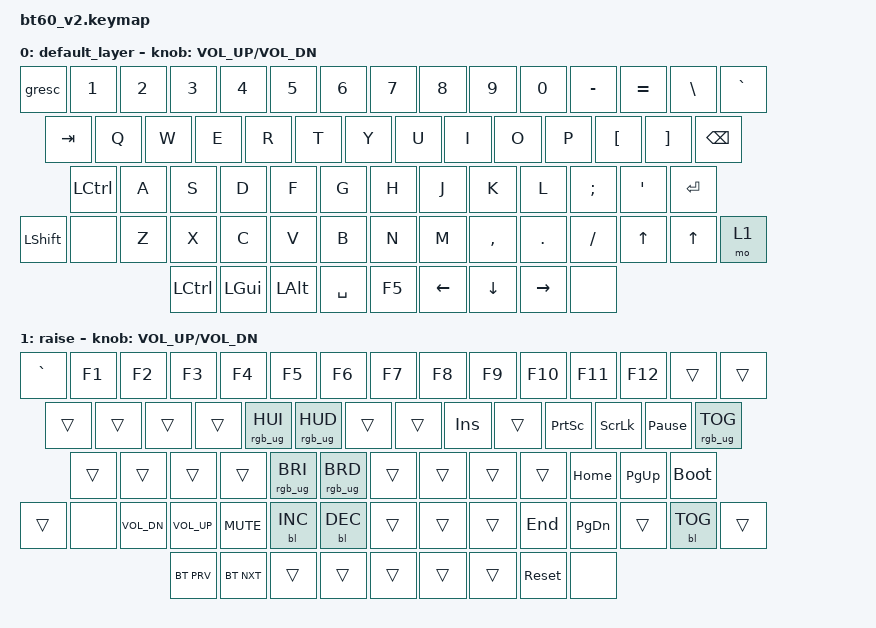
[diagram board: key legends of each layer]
#include <behaviors.dtsi>
#include <dt-bindings/zmk/keys.h>
#include <dt-bindings/zmk/bt.h>
#include <dt-bindings/zmk/rgb.h>
#include <dt-bindings/zmk/backlight.h>

/ {
  chosen {
    zmk,physical-layout = &layout_60_all1u;
  };

  behaviors {
    gresc: grave_escape {
      compatible = "zmk,behavior-mod-morph";
      label = "GRAVE_ESCAPE";
      #binding-cells = <0>;
      bindings = <&kp ESC>, <&kp GRAVE>;
      mods = <(MOD_LGUI|MOD_LSFT|MOD_RGUI|MOD_RSFT)>;
      keep-mods = <(MOD_LGUI|MOD_LSFT|MOD_RGUI|MOD_RSFT)>;
    };
  };

  keymap {
    compatible = "zmk,keymap";

    default_layer {
        // ------------------------------------------------------------------------------------------
        // | ESC |  1  |  2  |  3  |  4  |  5  |  6  |  7  |  8  |  9  |  0  |  -  |  =  |  \  |  `  |
        // | TAB   |  Q  |  W  |  E  |  R  |  T  |  Y  |  U  |  I  |  O  |  P  |  [  |  ]  |    \    |
        // | CTL   |  A  |  S  |  D  |  F  |  G  |  H  |  J  |  K  |  L  |  ;  |  '  |     ENTER    |
        // | SHFT  |NONE|  Z  |  X  |  C  |  V  |  B  |  N  |  M  |  ,  |  .  | /   | UP | UP |  1 |
        // |  CTL  |  WIN  |  ALT  |           SPACE              | RALT| F5 | LEFT | DOWN | RIGHT | NONE   |
        // ------------------------------------------------------------------------------------------
      bindings = <
        &gresc &kp N1 &kp N2 &kp N3 &kp N4 &kp N5 &kp N6 &kp N7 &kp  N8   &kp  N9 &kp  N0  &kp MINUS &kp EQUAL &kp BSLH &kp GRAVE
        &kp TAB  &kp Q  &kp W  &kp E  &kp R  &kp T  &kp Y  &kp U  &kp  I    &kp  O  &kp  P   &kp LBKT &kp RBKT  &kp BSPC
        &kp LCTRL  &kp A  &kp S  &kp D  &kp F  &kp G  &kp H  &kp J  &kp  K    &kp  L  &kp SEMI &kp SQT           &kp RET
        &kp LSHFT &none  &kp Z  &kp X  &kp C  &kp V  &kp B  &kp N  &kp M  &kp COMMA &kp DOT &kp FSLH    &kp UP  &kp UP &mo 1
        &kp LCTRL &kp LGUI &kp LALT            &kp SPACE                           &kp F5 &kp LEFT &kp DOWN &kp RIGHT &none
      >;
      sensor-bindings = <&inc_dec_kp C_VOL_UP C_VOL_DN>;
    };
    raise {
        // ------------------------------------------------------------------------------------------
        // |GRAVE| F1  | F2  | F3  | F4  | F5  | F6  | F7  | F8  | F9  | F10 | F11 | F12 |BSPC | DEL |
        // |      |     |     |     | HUI | HUD |     |     | INS |     |PSCRN| SLCK| P_B | RGB_TOG  |
        // |       |     |     |     | BRI | BRD |     |     |     |     | HOME| PGUP|      BOOT     |
        // |      |NONE|VOLDN|VOLUP|MUTE|BLINC|BLDEC|     |     |  ,  | END | PGDN | SHFT|BL_TOG| 1  |
        // | BT_PRV| BT_NXT|  ALT  |           SPACE              | RALT| CTRL | LEFT |RESET|        |
        // ------------------------------------------------------------------------------------------
      bindings = <
        &kp GRAVE &kp F1 &kp F2 &kp F3 &kp F4 &kp F5 &kp F6 &kp F7 &kp  F8   &kp  F9 &kp  F10  &kp F11 &kp F12   &trans &trans
        &trans &trans &trans &trans &rgb_ug RGB_HUI &rgb_ug RGB_HUD &trans &trans &kp INS &trans &kp PSCRN &kp SLCK &kp PAUSE_BREAK &rgb_ug RGB_TOG
        &trans    &trans &trans &trans &rgb_ug RGB_BRI &rgb_ug RGB_BRD &trans &trans &trans &trans &kp HOME  &kp PG_UP   &bootloader
        &trans &none &kp C_VOL_DN &kp C_VOL_UP &kp C_MUTE &bl BL_INC &bl BL_DEC &trans &trans &trans &kp END &kp PG_DN &trans &bl BL_TOG &trans
        &bt BT_PRV &bt BT_NXT  &trans              &trans                            &trans  &trans &trans   &sys_reset &none
      >;
      sensor-bindings = <&inc_dec_kp C_VOL_UP C_VOL_DN>;
    };
  };
};
